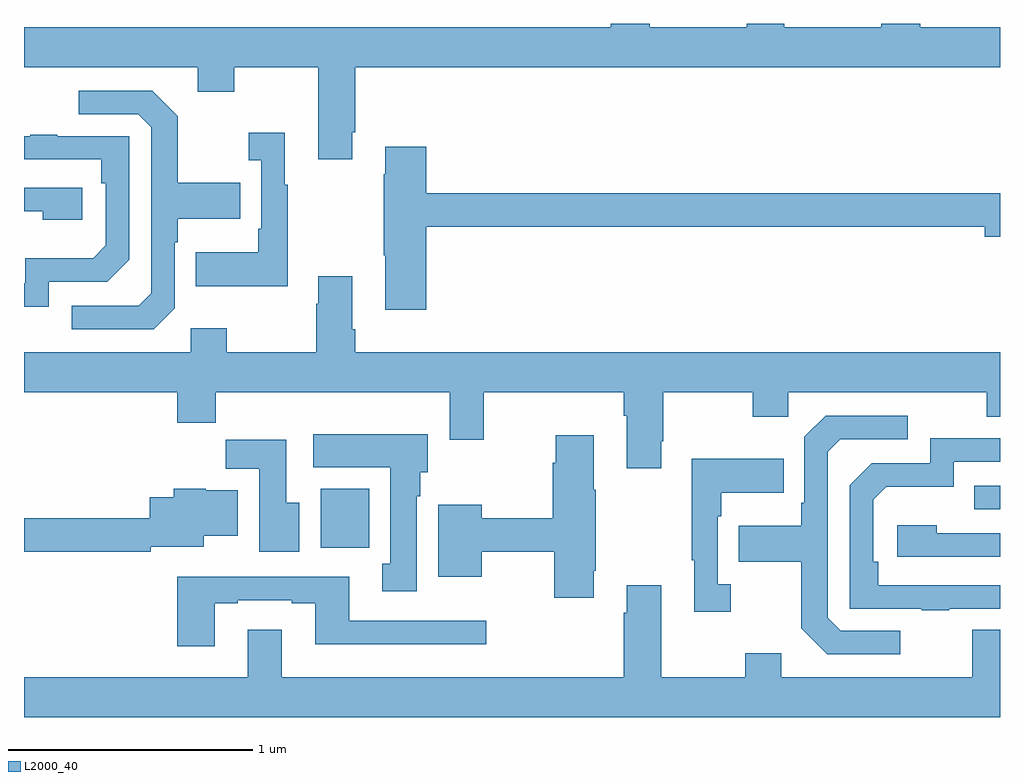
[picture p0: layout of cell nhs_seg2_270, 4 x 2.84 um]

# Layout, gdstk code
import gdstk
lib = gdstk.Library(unit=1e-6, precision=1e-09)
def R(c, l, rs):  # rectangles x0, y0, x1, y1
    for r in rs: c.add(gdstk.rectangle(r[:2], r[2:], *l))
def P(c, l, *ps):  # polygons
    for p in ps: c.add(gdstk.Polygon(p, *l))
L2000_40 = (2000, 40)

nhs_seg2_270 = lib.new_cell('nhs_seg2_270')
R(nhs_seg2_270, L2000_40, [(124.217,661.652,124.414,661.894), (126.895,661.809,127,661.905)])
P(nhs_seg2_270, L2000_40, [(124.345,663.355),(124.358,663.355),(124.358,663.62),(127,663.62),(127,663.784),(126.674,663.784),(126.674,663.8),(126.514,663.8),(126.514,663.784),(126.116,663.784),(126.116,663.8),(125.962,663.8),(125.962,663.784),(125.565,663.784),(125.565,663.8),(125.405,663.8),(125.405,663.784),(123,663.784),(123,663.62),(123.713,663.62),(123.713,663.521),(123.861,663.521),(123.861,663.62),(124.205,663.62),(124.205,663.243),(124.345,663.243)],
  [(123.618,662.634),(123.618,662.903),(123.631,662.903),(123.631,662.999),(123.887,662.999),(123.887,663.147),(123.631,663.147),(123.631,663.419),(123.525,663.525),(123.225,663.525),(123.225,663.429),(123.468,663.429),(123.522,663.375),(123.522,662.694),(123.471,662.643),(123.195,662.643),(123.195,662.547),(123.531,662.547)],
  [(124.081,663.139),(124.069,663.139),(124.069,663.352),(123.921,663.352),(123.921,663.239),(123.972,663.239),(123.972,662.959),(123.96,662.959),(123.96,662.863),(123.703,662.863),(123.703,662.723),(124.081,662.723)],
  [(123.102,662.742),(123.342,662.742),(123.432,662.832),(123.432,663.339),(123.137,663.339),(123.137,663.344),(123.025,663.344),(123.025,663.339),(123,663.339),(123,663.243),(123.316,663.243),(123.316,663.146),(123.336,663.146),(123.336,662.892),(123.283,662.839),(123.006,662.839),(123.006,662.736),(123,662.736),(123,662.64),(123.102,662.64)],
  [(124.649,662.968),(126.938,662.968),(126.938,662.926),(127,662.926),(127,663.104),(124.649,663.104),(124.649,663.295),(124.481,663.295),(124.481,663.182),(124.474,663.182),(124.474,662.851),(124.481,662.851),(124.481,662.628),(124.649,662.628)],
  [(123.238,663.126),(123,663.126),(123,663.03),(123.077,663.03),(123.077,662.996),(123.238,662.996)],
  [(125.611,662.089),(125.619,662.089),(125.619,662.288),(125.986,662.288),(125.986,662.189),(126.132,662.189),(126.132,662.288),(126.946,662.288),(126.946,662.189),(127,662.189),(127,662.452),(124.358,662.452),(124.358,662.548),(124.345,662.548),(124.345,662.764),(124.205,662.764),(124.205,662.651),(124.198,662.651),(124.198,662.452),(123.831,662.452),(123.831,662.551),(123.684,662.551),(123.684,662.452),(123,662.452),(123,662.288),(123.629,662.288),(123.629,662.164),(123.785,662.164),(123.785,662.288),(124.745,662.288),(124.745,662.094),(124.885,662.094),(124.885,662.288),(125.459,662.288),(125.459,662.192),(125.471,662.192),(125.471,661.977),(125.611,661.977)],
  [(126.592,661.311),(126.348,661.311),(126.294,661.365),(126.294,662.046),(126.345,662.097),(126.622,662.097),(126.622,662.193),(126.285,662.193),(126.198,662.106),(126.198,661.837),(126.186,661.837),(126.186,661.741),(125.929,661.741),(125.929,661.594),(126.186,661.594),(126.186,661.321),(126.291,661.215),(126.592,661.215)],
  [(124.609,661.862),(124.624,661.862),(124.624,661.962),(124.654,661.962),(124.654,662.116),(124.185,662.116),(124.185,661.982),(124.502,661.982),(124.502,661.586),(124.469,661.586),(124.469,661.473),(124.609,661.473)],
  [(125.335,661.558),(125.343,661.558),(125.343,661.889),(125.335,661.889),(125.335,662.113),(125.18,662.113),(125.18,662),(125.168,662),(125.168,661.772),(124.876,661.772),(124.876,661.828),(124.697,661.828),(124.697,661.532),(124.876,661.532),(124.876,661.636),(125.173,661.636),(125.173,661.446),(125.335,661.446)],
  [(126.791,661.401),(127,661.401),(127,661.497),(126.5,661.497),(126.5,661.594),(126.48,661.594),(126.48,661.848),(126.533,661.901),(126.81,661.901),(126.81,662.004),(127,662.004),(127,662.1),(126.714,662.1),(126.714,661.998),(126.474,661.998),(126.384,661.908),(126.384,661.401),(126.679,661.401),(126.679,661.396),(126.791,661.396)],
  [(124.129,661.836),(124.075,661.836),(124.075,662.095),(123.826,662.095),(123.826,661.976),(123.965,661.976),(123.965,661.635),(124.129,661.635)],
  [(125.896,661.502),(125.844,661.502),(125.844,661.781),(125.857,661.781),(125.857,661.877),(126.113,661.877),(126.113,662.017),(125.736,662.017),(125.736,661.601),(125.747,661.601),(125.747,661.389),(125.896,661.389)],
  [(123.519,661.655),(123.736,661.655),(123.736,661.7),(123.877,661.7),(123.877,661.888),(123.744,661.888),(123.744,661.894),(123.614,661.894),(123.614,661.858),(123.515,661.858),(123.515,661.772),(123,661.772),(123,661.636),(123.519,661.636)],
  [(127,661.71),(126.74,661.71),(126.74,661.744),(126.579,661.744),(126.579,661.614),(127,661.614)],
  [(123.781,661.425),(123.877,661.425),(123.877,661.437),(124.097,661.437),(124.097,661.425),(124.193,661.425),(124.193,661.256),(124.894,661.256),(124.894,661.353),(124.333,661.353),(124.333,661.533),(123.629,661.533),(123.629,661.248),(123.781,661.248)],
  [(127,661.315),(126.887,661.315),(126.887,661.12),(126.103,661.12),(126.103,661.219),(125.956,661.219),(125.956,661.12),(125.611,661.12),(125.611,661.498),(125.471,661.498),(125.471,661.385),(125.459,661.385),(125.459,661.12),(124.057,661.12),(124.057,661.315),(123.917,661.315),(123.917,661.12),(123,661.12),(123,660.956),(127,660.956)])

lib.write_gds('nhs_seg2_270.gds')
